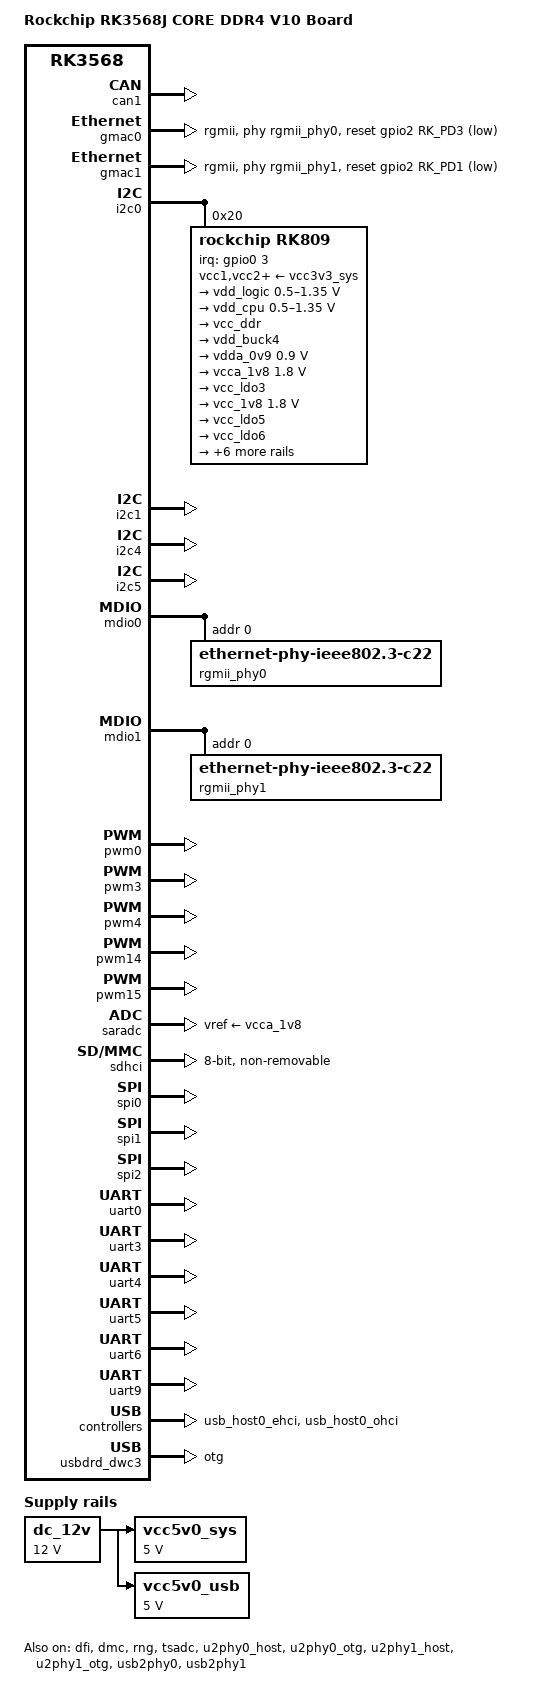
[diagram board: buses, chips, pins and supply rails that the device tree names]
// SPDX-License-Identifier: (GPL-2.0+ OR MIT)
/*
 * Copyright (c) 2022 Rockchip Electronics Co., Ltd.
 *
 */

/dts-v1/;

#include <dt-bindings/gpio/gpio.h>
#include <dt-bindings/pinctrl/rockchip.h>
#include "rk3568j.dtsi"

/ {
	model = "Rockchip RK3568J CORE DDR4 V10 Board";
	compatible = "rockchip,rk3568j-core-ddr4-v10", "rockchip,rk3568";

	chosen: chosen {
		bootargs = "earlycon=uart8250,mmio32,0xfe660000 console=ttyFIQ0 root=PARTUUID=614e0000-0000 rw rootwait";
	};

	fiq-debugger {
		compatible = "rockchip,fiq-debugger";
		rockchip,serial-id = <2>;
		rockchip,wake-irq = <0>;
		/* If enable uart uses irq instead of fiq */
		rockchip,irq-mode-enable = <1>;
		rockchip,baudrate = <1500000>;  /* Only 115200 and 1500000 */
		interrupts = <GIC_SPI 252 IRQ_TYPE_LEVEL_LOW>;
		pinctrl-names = "default";
		pinctrl-0 = <&uart2m0_xfer>;
		status = "okay";
	};

	debug: debug@fd904000 {
		compatible = "rockchip,debug";
		reg = <0x0 0xfd904000 0x0 0x1000>,
			<0x0 0xfd905000 0x0 0x1000>,
			<0x0 0xfd906000 0x0 0x1000>,
			<0x0 0xfd907000 0x0 0x1000>;
	};

	cspmu: cspmu@fd90c000 {
		compatible = "rockchip,cspmu";
		reg = <0x0 0xfd90c000 0x0 0x1000>,
			<0x0 0xfd90d000 0x0 0x1000>,
			<0x0 0xfd90e000 0x0 0x1000>,
			<0x0 0xfd90f000 0x0 0x1000>;
	};

	dc_12v: dc-12v {
		compatible = "regulator-fixed";
		regulator-name = "dc_12v";
		regulator-always-on;
		regulator-boot-on;
		regulator-min-microvolt = <12000000>;
		regulator-max-microvolt = <12000000>;
	};

	vcc5v0_sys: vcc5v0-sys {
		compatible = "regulator-fixed";
		regulator-name = "vcc5v0_sys";
		regulator-always-on;
		regulator-boot-on;
		regulator-min-microvolt = <5000000>;
		regulator-max-microvolt = <5000000>;
		vin-supply = <&dc_12v>;
	};

	vcc5v0_usb: vcc5v0-usb {
		compatible = "regulator-fixed";
		regulator-name = "vcc5v0_usb";
		regulator-always-on;
		regulator-boot-on;
		regulator-min-microvolt = <5000000>;
		regulator-max-microvolt = <5000000>;
		vin-supply = <&dc_12v>;
	};
};

&can1 {
	assigned-clocks = <&cru CLK_CAN1>;
	assigned-clock-rates = <150000000>;
	pinctrl-names = "default";
	pinctrl-0 = <&can1m1_pins>;
	status = "okay";
};

&cpu0 {
	cpu-supply = <&vdd_cpu>;
};

&dfi {
	status = "okay";
};

&dmc {
	center-supply = <&vdd_logic>;
	status = "okay";
};

&gmac0 {
	phy-mode = "rgmii";
	clock_in_out = "output";

	snps,reset-gpio = <&gpio2 RK_PD3 GPIO_ACTIVE_LOW>;
	snps,reset-active-low;
	/* Reset time is 20ms, 100ms for rtl8211f */
	snps,reset-delays-us = <0 20000 100000>;

	assigned-clocks = <&cru SCLK_GMAC0_RX_TX>, <&cru SCLK_GMAC0>;
	assigned-clock-parents = <&cru SCLK_GMAC0_RGMII_SPEED>, <&cru CLK_MAC0_2TOP>;
	assigned-clock-rates = <0>, <125000000>;

	pinctrl-names = "default";
	pinctrl-0 = <&gmac0_miim
		     &gmac0_tx_bus2
		     &gmac0_rx_bus2
		     &gmac0_rgmii_clk
		     &gmac0_rgmii_bus>;
	tx_delay = <0x3c>;
	rx_delay = <0x2f>;
	phy-handle = <&rgmii_phy0>;
	status = "okay";
};

&gmac1 {
	phy-mode = "rgmii";
	clock_in_out = "output";

	snps,reset-gpio = <&gpio2 RK_PD1 GPIO_ACTIVE_LOW>;
	snps,reset-active-low;
	/* Reset time is 20ms, 100ms for rtl8211f */
	snps,reset-delays-us = <0 20000 100000>;

	assigned-clocks = <&cru SCLK_GMAC1_RX_TX>, <&cru SCLK_GMAC1>;
	assigned-clock-parents = <&cru SCLK_GMAC1_RGMII_SPEED>, <&cru CLK_MAC1_2TOP>;
	assigned-clock-rates = <0>, <125000000>;

	pinctrl-names = "default";
	pinctrl-0 = <&gmac1m0_miim
		     &gmac1m0_tx_bus2
		     &gmac1m0_rx_bus2
		     &gmac1m0_rgmii_clk
		     &gmac1m0_rgmii_bus>;
	tx_delay = <0x4f>;
	rx_delay = <0x26>;
	phy-handle = <&rgmii_phy1>;
	status = "okay";
};

&i2c0 {
	status = "okay";

	rk809: pmic@20 {
		compatible = "rockchip,rk809";
		reg = <0x20>;
		interrupt-parent = <&gpio0>;
		interrupts = <3 IRQ_TYPE_LEVEL_LOW>;

		pinctrl-names = "default", "pmic-sleep",
				"pmic-power-off", "pmic-reset";
		pinctrl-0 = <&pmic_int>;
		pinctrl-1 = <&soc_slppin_slp>, <&rk817_slppin_slp>;
		pinctrl-2 = <&soc_slppin_gpio>, <&rk817_slppin_pwrdn>;
		pinctrl-3 = <&soc_slppin_gpio>, <&rk817_slppin_rst>;

		rockchip,system-power-controller;
		wakeup-source;
		#clock-cells = <1>;
		clock-output-names = "rk808-clkout1", "rk808-clkout2";
		//fb-inner-reg-idxs = <2>;
		/* 1: rst regs (default in codes), 0: rst the pmic */
		pmic-reset-func = <0>;
		/* not save the PMIC_POWER_EN register in uboot */
		not-save-power-en = <1>;

		vcc1-supply = <&vcc3v3_sys>;
		vcc2-supply = <&vcc3v3_sys>;
		vcc3-supply = <&vcc3v3_sys>;
		vcc4-supply = <&vcc3v3_sys>;
		vcc5-supply = <&vcc3v3_sys>;
		vcc6-supply = <&vcc3v3_sys>;
		vcc7-supply = <&vcc3v3_sys>;
		vcc8-supply = <&vcc3v3_sys>;
		vcc9-supply = <&vcc3v3_sys>;

		pwrkey {
			status = "okay";
		};

		pinctrl_rk8xx: pinctrl_rk8xx {
			gpio-controller;
			#gpio-cells = <2>;

			rk817_slppin_null: rk817_slppin_null {
				pins = "gpio_slp";
				function = "pin_fun0";
			};

			rk817_slppin_slp: rk817_slppin_slp {
				pins = "gpio_slp";
				function = "pin_fun1";
			};

			rk817_slppin_pwrdn: rk817_slppin_pwrdn {
				pins = "gpio_slp";
				function = "pin_fun2";
			};

			rk817_slppin_rst: rk817_slppin_rst {
				pins = "gpio_slp";
				function = "pin_fun3";
			};
		};

		regulators {
			vdd_logic: DCDC_REG1 {
				regulator-always-on;
				regulator-boot-on;
				regulator-min-microvolt = <500000>;
				regulator-max-microvolt = <1350000>;
				regulator-init-microvolt = <900000>;
				regulator-ramp-delay = <6001>;
				regulator-initial-mode = <0x2>;
				regulator-name = "vdd_logic";
				regulator-state-mem {
					regulator-off-in-suspend;
				};
			};

			vdd_cpu: DCDC_REG2 {
				regulator-always-on;
				regulator-boot-on;
				regulator-min-microvolt = <500000>;
				regulator-max-microvolt = <1350000>;
				regulator-init-microvolt = <900000>;
				regulator-ramp-delay = <6001>;
				regulator-initial-mode = <0x2>;
				regulator-name = "vdd_cpu";
				regulator-state-mem {
					regulator-off-iemmcn-suspend;
				};
			};

			vcc_ddr: DCDC_REG3 {
				regulator-always-on;
				regulator-boot-on;
				regulator-initial-mode = <0x2>;
				regulator-name = "vcc_ddr";
				regulator-state-mem {
					regulator-on-in-suspend;
				};
			};

			vdd_buck4: DCDC_REG4 {
				regulator-ramp-delay = <6001>;
				regulator-initial-mode = <0x2>;
				regulator-name = "vdd_buck4";
				regulator-state-mem {
					regulator-off-in-suspend;
				};
			};

			vdda_0v9: LDO_REG1 {
				regulator-always-on;
				regulator-boot-on;
				regulator-min-microvolt = <900000>;
				regulator-max-microvolt = <900000>;
				regulator-name = "vdda_0v9";
				regulator-state-mem {
					regulator-off-in-suspend;
				};
			};

			vcca_1v8: LDO_REG2 {
				regulator-always-on;
				regulator-boot-on;
				regulator-min-microvolt = <1800000>;
				regulator-max-microvolt = <1800000>;
				regulator-name = "vcca_1v8";
				regulator-state-mem {
					regulator-off-in-suspend;
				};
			};

			vcc_ldo3: LDO_REG3 {
				regulator-name = "vcc_ldo3";
				regulator-state-mem {
					regulator-off-in-suspend;
				};
			};

			vcc_1v8: LDO_REG4 {
				regulator-always-on;
				regulator-boot-on;
				regulator-min-microvolt = <1800000>;
				regulator-max-microvolt = <1800000>;
				regulator-name = "vcc_1v8";
				regulator-state-mem {
					regulator-off-in-suspend;
				};
			};

			vcc_ldo5: LDO_REG5 {
				regulator-name = "vcc_ldo5";
				regulator-state-mem {
					regulator-off-in-suspend;
				};
			};

			vcc_ldo6: LDO_REG6 {
				regulator-name = "vcc_ldo6";
				regulator-state-mem {
					regulator-off-in-suspend;
				};
			};

			vcc_ldo7: LDO_REG7 {
				regulator-name = "vcc_ldo7";
				regulator-state-mem {
					regulator-off-in-suspend;
				};
			};

			vcc_ldo8: LDO_REG8 {
				regulator-name = "vcc_ldo8";
				regulator-state-mem {
					regulator-off-in-suspend;
				};
			};

			vcc_ldo9: LDO_REG9 {
				regulator-name = "vcc_ldo9";
				regulator-state-mem {
					regulator-off-in-suspend;
				};
			};

			vcc3v3_sys: DCDC_REG5 {
				regulator-always-on;
				regulator-boot-on;
				regulator-min-microvolt = <3300000>;
				regulator-max-microvolt = <3300000>;
				regulator-name = "vcc3v3_sys";
				regulator-state-mem {
					regulator-off-in-suspend;
				};
			};

			vcc_sw1: SWITCH_REG1 {
				regulator-name = "vcc_sw1";
				regulator-state-mem {
					regulator-off-in-suspend;
				};
			};

			vcc_3v3: SWITCH_REG2 {
				regulator-always-on;
				regulator-boot-on;
				regulator-name = "vcc_3v3";
				regulator-state-mem {
					regulator-off-in-suspend;
				};
			};
		};
	};
};

&i2c1 {
	status = "okay";
};

&i2c4 {
	pinctrl-names = "default";
	pinctrl-0 = <&i2c4m1_xfer>;
	status = "okay";
};

&i2c5 {
	pinctrl-names = "default";
	pinctrl-0 = <&i2c5m1_xfer>;
	status = "okay";
};

&mdio0 {
	rgmii_phy0: phy@0 {
		compatible = "ethernet-phy-ieee802.3-c22";
		reg = <0x0>;
	};
};

&mdio1 {
	rgmii_phy1: phy@0 {
		compatible = "ethernet-phy-ieee802.3-c22";
		reg = <0x0>;
	};
};

&pinctrl {
	pmic {
		pmic_int: pmic_int {
			rockchip,pins =
				<0 RK_PA3 RK_FUNC_GPIO &pcfg_pull_up>;
		};

		soc_slppin_gpio: soc_slppin_gpio {
			rockchip,pins =
				<0 RK_PA2 RK_FUNC_GPIO &pcfg_output_low_pull_down>;
		};

		soc_slppin_slp: soc_slppin_slp {
			rockchip,pins =
				<0 RK_PA2 1 &pcfg_pull_up>;
		};

		soc_slppin_rst: soc_slppin_rst {
			rockchip,pins =
				<0 RK_PA2 2 &pcfg_pull_none>;
		};
	};
};

&pmu_io_domains {
	status = "okay";
	pmuio2-supply = <&vcc_3v3>;
	vccio1-supply = <&vcc_3v3>;
	vccio3-supply = <&vcc_3v3>;
	vccio4-supply = <&vcc_3v3>;
	vccio5-supply = <&vcc_3v3>;
	vccio6-supply = <&vcc_3v3>;
	vccio7-supply = <&vcc_3v3>;
};

&pwm0 {
	status = "okay";
};

&pwm3 {
	status = "okay";
};

&pwm4 {
	status = "okay";
};

&pwm14 {
	pinctrl-0 = <&pwm14m1_pins>;
	status = "okay";
};

&pwm15 {
	pinctrl-0 = <&pwm15m1_pins>;
	status = "okay";
};

&reserved_memory {
	ramoops: ramoops@110000 {
		compatible = "ramoops";
		reg = <0x0 0x110000 0x0 0xf0000>;
		record-size = <0x20000>;
		console-size = <0x80000>;
		ftrace-size = <0x00000>;
		pmsg-size = <0x50000>;
	};
};

&rng {
	status = "okay";
};

&saradc {
	status = "okay";
	vref-supply = <&vcca_1v8>;
};

&sdhci {
	bus-width = <8>;
	supports-emmc;
	non-removable;
	max-frequency = <200000000>;
	status = "okay";
};

&spi0 {
	status = "okay";
};

&spi1 {
	status = "okay";
	pinctrl-names = "default", "high_speed";
	pinctrl-0 = <&spi1m1_cs0 &spi1m0_cs1 &spi1m1_pins>;
	pinctrl-1 = <&spi1m1_cs0 &spi1m0_cs1 &spi1m1_pins_hs>;
};

&spi2 {
	status = "okay";
	pinctrl-names = "default", "high_speed";
	pinctrl-0 = <&spi2m1_cs0 &spi2m1_cs1 &spi2m1_pins>;
	pinctrl-1 = <&spi2m1_cs0 &spi2m1_cs1 &spi2m1_pins_hs>;
};

&tsadc {
	status = "okay";
};

&uart0 {
	status = "okay";
};

&uart3 {
	status = "okay";
};

&uart4 {
	status = "okay";
};

&uart5 {
	status = "okay";
};

&uart6 {
	status = "okay";
	pinctrl-0 = <&uart6m1_xfer>;
};

&uart9 {
	status = "okay";
	pinctrl-0 = <&uart9m1_xfer>;
};

&u2phy0_host {
	phy-supply = <&vcc5v0_usb>;
	status = "okay";
};

&u2phy0_otg {
	vbus-supply = <&vcc5v0_usb>;
	status = "okay";
};

&u2phy1_host {
	phy-supply = <&vcc5v0_usb>;
	status = "okay";
};

&u2phy1_otg {
	phy-supply = <&vcc5v0_usb>;
	status = "okay";
};

&usb2phy0 {
	status = "okay";
};

&usb2phy1 {
	status = "okay";
};

&usb_host0_ehci {
	status = "okay";
};

&usb_host0_ohci {
	status = "okay";
};

&usbdrd_dwc3 {
	dr_mode = "otg";
	extcon = <&usb2phy0>;
	status = "okay";
};
